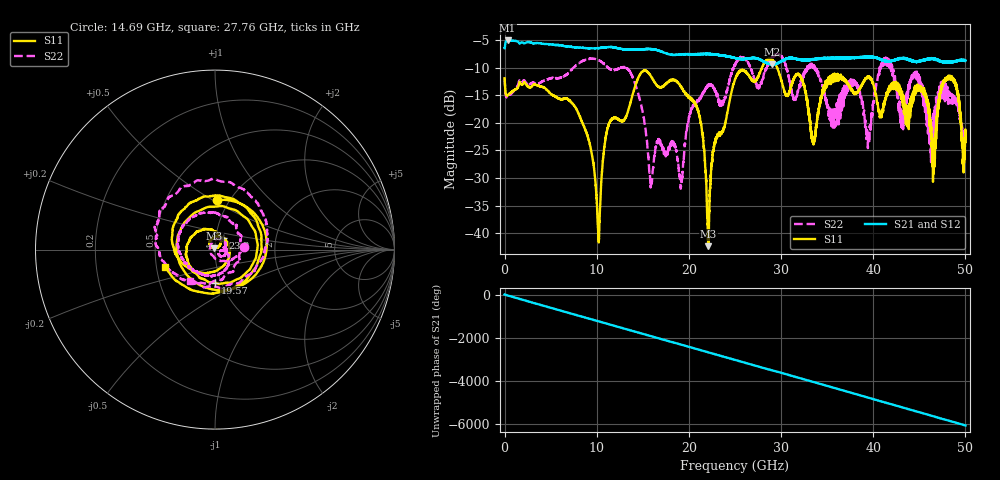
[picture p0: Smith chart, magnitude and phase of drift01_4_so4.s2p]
!Created with skrf (http://scikit-rf.org).
# Hz S RI R 50.0
!freq ReS11 ImS11 ReS21 ImS21 ReS12 ImS12 ReS22 ImS22
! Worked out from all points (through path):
!   10001 points, 300 kHz to 50 GHz, reference 50 ohm
!   highest |S21| = -5.05 dB at 325.3 MHz (marker M1); lowest = -9.4 dB at 29.02 GHz (marker M2)
!   group delay of S21, straight-line fit = 336 ps
!   lowest |S11| = -42.4 dB at 22.11 GHz (marker M3), VSWR 1.02, Z = 49.6 + j0.66 ohm
!   |S11| at or under -10 dB: start of sweep to 27.92 GHz; 29.57441 GHz to 29.57685 GHz (2.446 MHz wide, 0.00827 % of centre); 29.58 GHz to end of sweep
!   |S22| runs from -31.9 to -7.5 dB; largest |S21 - S12| = 0.012
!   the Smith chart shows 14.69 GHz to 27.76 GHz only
!   S11 on the Smith chart (normalised r, x): 14.69 GHz: 0.88, +0.52; 19.57 GHz: 0.94, -0.36; 23.2 GHz: 1.08, +0.14; 27.76 GHz: 0.56, -0.12
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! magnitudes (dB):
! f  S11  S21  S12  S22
! 300 kHz  -11.9  -6.5  -6.5  -11.8
! 325.3 MHz  -15.0  -5.1  -5.1  -15.3
! 8.335 GHz  -19.6  -6.4  -6.4  -8.9
! 10.2 GHz  -40.9  -6.4  -6.4  -8.6
! 11.23 GHz  -20.7  -6.3  -6.3  -10.0
! 14.69 GHz  -11.2  -6.7  -6.7  -15.9
! 15.86 GHz  -11.5  -6.6  -6.6  -31.7
! 16.67 GHz  -13.4  -6.9  -6.9  -23.2
! 19.57 GHz  -14.6  -7.5  -7.5  -24.0
! 21.2 GHz  -19.0  -7.5  -7.5  -15.6
! 22.11 GHz  -42.4  -7.5  -7.5  -13.3
! 23.2 GHz  -22.3  -7.7  -7.7  -15.8
! 25 GHz  -12.1  -8.2  -8.3  -9.4
! 27.76 GHz  -10.6  -8.5  -8.6  -13.1
! 29.02 GHz  -8.6  -9.4  -9.4  -8.3
! 33.34 GHz  -22.9  -8.5  -8.5  -9.7
! 39.47 GHz  -11.6  -8.1  -8.0  -22.6
! 41.67 GHz  -13.8  -8.8  -8.8  -8.9
! 45.36 GHz  -13.7  -8.7  -8.6  -13.8
! 46.56 GHz  -27.0  -8.4  -8.3  -21.5
! 48.53 GHz  -11.8  -9.0  -8.9  -15.1
! 50 GHz  -22.4  -8.7  -8.7  -22.7
